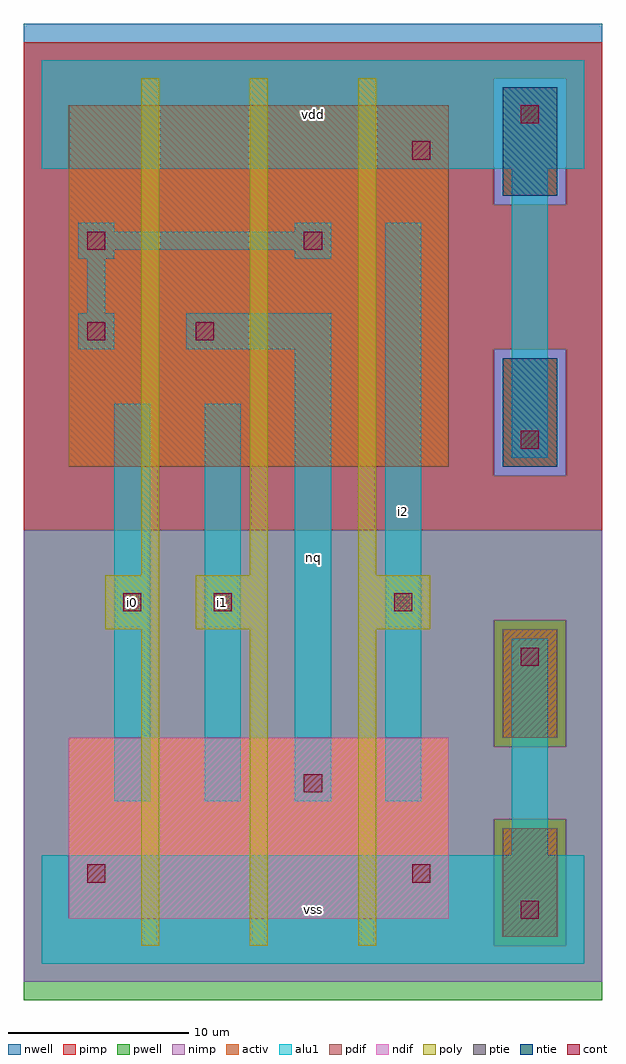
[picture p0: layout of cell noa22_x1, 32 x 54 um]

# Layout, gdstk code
import gdstk
lib = gdstk.Library(unit=1e-6, precision=1e-09)
def R(c, l, rs):  # rectangles x0, y0, x1, y1
    for r in rs: c.add(gdstk.rectangle(r[:2], r[2:], *l))
def A(c, l, x, y, w, h, nx, ny, dx, dy):  # array of equal rectangles
    R(c, l, [(x+i*dx, y+j*dy, x+i*dx+w, y+j*dy+h) for i in range(nx) for j in range(ny)])
ndif = (3, 0)
pdif = (4, 0)
ntie = (5, 0)
ptie = (6, 0)
cont = (25, 0)
pwell = (41, 0)
nwell = (42, 0)
activ = (43, 0)
pimp = (44, 0)
nimp = (45, 0)
poly = (46, 0)
alu1 = (49, 0)

noa22_x1 = lib.new_cell('noa22_x1')
R(noa22_x1, ndif, [(1.5,2.5,22.5,12.5)])
R(noa22_x1, pdif, [(1.5,27.5,22.5,47.5)])
R(noa22_x1, ntie, [(25.5,27.5,28.5,33.5), (25.5,42.5,28.5,48.5)])
R(noa22_x1, ptie, [(25.5,1.5,28.5,7.5), (25.5,12.5,28.5,18.5)])
R(noa22_x1, cont, [(26.5,2.5,27.5,3.5), (2.5,4.5,3.5,5.5), (20.5,4.5,21.5,5.5), (14.5,9.5,15.5,10.5), (26.5,16.5,27.5,17.5), (4.5,19.5,5.5,20.5), (9.5,19.5,10.5,20.5), (19.5,19.5,20.5,20.5), (26.5,28.5,27.5,29.5), (2.5,34.5,3.5,35.5), (8.5,34.5,9.5,35.5), (2.5,39.5,3.5,40.5), (14.5,39.5,15.5,40.5), (20.5,44.5,21.5,45.5), (26.5,46.5,27.5,47.5)])
R(noa22_x1, pwell, [(-1,-2,31,24)])
R(noa22_x1, nwell, [(-1,24,31,52)])
A(noa22_x1, activ, 25.5, 12.5, 3, 6, 1, 3, 0, 15)
R(noa22_x1, activ, [(25.5,1.5,28.5,7.5), (1.5,2.5,22.5,12.5), (1.5,27.5,22.5,47.5)])
R(noa22_x1, pimp, [(25,1,29,8), (25,12,29,19), (-1,24,31,27), (-1,27,25,34), (29,27,31,34), (-1,34,31,42), (-1,42,25,49), (29,42,31,49), (-1,49,31,51)])
R(noa22_x1, nimp, [(-1,-1,31,1), (-1,1,25,8), (29,1,31,8), (-1,8,31,12), (-1,12,25,19), (29,12,31,19), (-1,19,31,24), (25,27,29,34), (25,42,29,49)])
A(noa22_x1, poly, 5.5, 1, 1, 17.5, 3, 1, 6, 0)
A(noa22_x1, poly, 5.5, 21.5, 1, 27.5, 3, 1, 6, 0)
R(noa22_x1, poly, [(3.5,18.5,6.5,21.5), (8.5,18.5,12.5,21.5), (17.5,18.5,21.5,21.5)])
R(noa22_x1, alu1, [(0,0,30,6), (26,6,28,18), (4,9,6,31), (9,9,11,31), (14,9,16,34), (19,9,21,41), (26,28,28,44), (2,34,4,36), (8,34,16,36), (2.5,36,3.5,39), (2,39,4,39.5), (14,39,16,39.5), (2,39.5,16,40.5), (2,40.5,4,41), (14,40.5,16,41), (0,44,30,50)])
noa22_x1.add(gdstk.Label('i0', (5,20), layer=49, texttype=0))
noa22_x1.add(gdstk.Label('i1', (10,20), layer=49, texttype=0))
noa22_x1.add(gdstk.Label('vss', (15,3), layer=49, texttype=0))
noa22_x1.add(gdstk.Label('nq', (15,22.5), layer=49, texttype=0))
noa22_x1.add(gdstk.Label('i2', (20,25), layer=49, texttype=0))
noa22_x1.add(gdstk.Label('vdd', (15,47), layer=49, texttype=0))

lib.write_gds('noa22_x1.gds')
